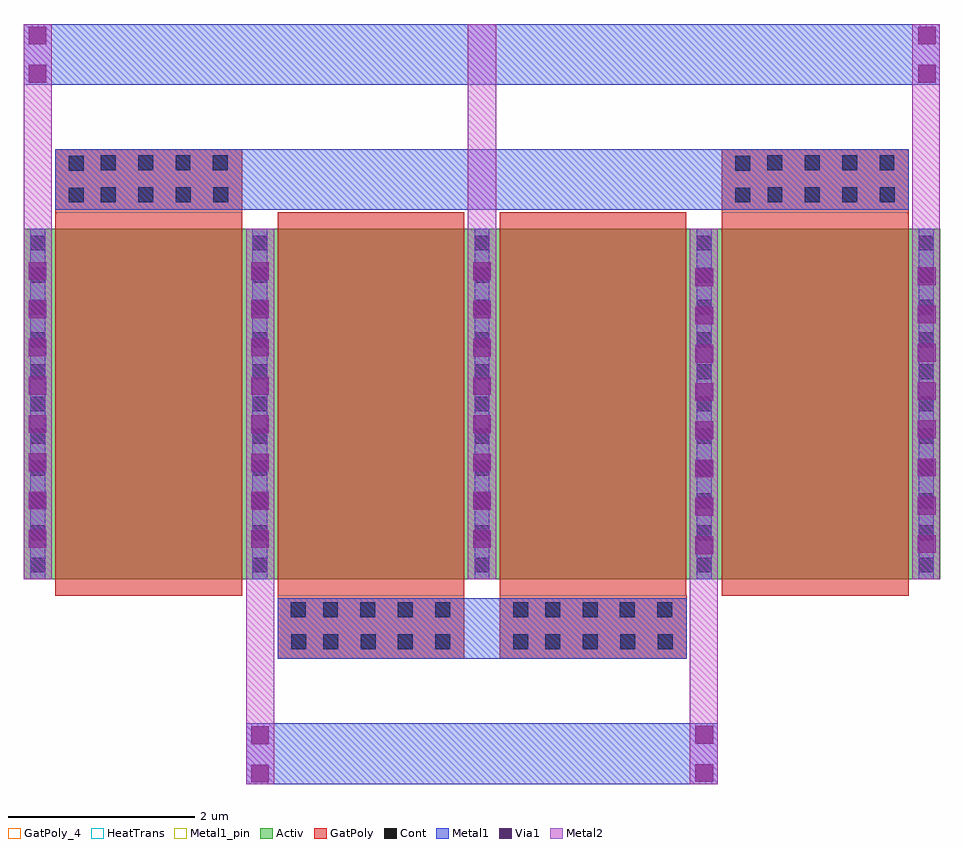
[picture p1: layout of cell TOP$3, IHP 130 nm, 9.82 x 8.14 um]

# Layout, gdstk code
import gdstk
lib = gdstk.Library(unit=1e-6, precision=1e-09)
def R(c, l, rs):  # rectangles x0, y0, x1, y1
    for r in rs: c.add(gdstk.rectangle(r[:2], r[2:], *l))
def A(c, l, x, y, w, h, nx, ny, dx, dy):  # array of equal rectangles
    R(c, l, [(x+i*dx, y+j*dy, x+i*dx+w, y+j*dy+h) for i in range(nx) for j in range(ny)])
Activ = (1, 0)
GatPoly = (5, 0)
GatPoly_4 = (5, 4)
Cont = (6, 0)
Metal1 = (8, 0)
Metal1_pin = (8, 2)
Metal2 = (10, 0)
Via1 = (19, 0)
HeatTrans = (51, 0)

nmos_1_1 = lib.new_cell('nmos$1$1')
A(nmos_1_1, Activ, 0, 0, 0.3, 0.3, 5, 1, 2.38, 0)
R(nmos_1_1, Activ, [(0,0,9.82,3.75)])
A(nmos_1_1, GatPoly, 0.34, -0.18, 2, 4.11, 4, 1, 2.38, 0)
R(nmos_1_1, GatPoly_4, [(0.34,-0.18,2.34,3.93), (0.34,-0.18,2.34,3.93)])
A(nmos_1_1, Cont, 0.07, 0.07, 0.16, 0.16, 5, 11, 2.38, 0.345)
A(nmos_1_1, Metal1, 0.07, 0, 0.16, 3.75, 5, 1, 2.38, 0)
R(nmos_1_1, Metal1_pin, [(0.07,0,0.23,3.75), (0.07,0,0.23,3.75), (2.45,0,2.61,3.75), (2.45,0,2.61,3.75)])
A(nmos_1_1, HeatTrans, 0.34, -0.18, 2, 4.11, 4, 1, 2.38, 0)
nmos_1_1.add(gdstk.Label('nmos', (1.34,1.875), layer=51, texttype=0))
nmos_1_1.add(gdstk.Label('nmos', (3.72,1.875), layer=51, texttype=0))
nmos_1_1.add(gdstk.Label('nmos', (6.1,1.875), layer=51, texttype=0))
nmos_1_1.add(gdstk.Label('nmos', (8.48,1.875), layer=51, texttype=0))

top_3 = lib.new_cell('TOP$3')
R(top_3, GatPoly, [(2.246,-0.911,4.247,-0.235), (4.626,-0.911,6.627,-0.235), (-0.135,3.875,1.866,4.551), (7.006,3.875,9.007,4.551)])
R(top_3, Cont, [(2.391,-0.807,2.551,-0.647), (4.771,-0.807,4.931,-0.647), (2.735,-0.805,2.895,-0.645), (3.136,-0.805,3.296,-0.645), (3.536,-0.805,3.696,-0.645), (3.937,-0.805,4.097,-0.645), (5.115,-0.805,5.275,-0.645), (5.516,-0.805,5.676,-0.645), (5.916,-0.805,6.076,-0.645), (6.317,-0.805,6.477,-0.645), (2.389,-0.465,2.549,-0.305), (4.769,-0.465,4.929,-0.305), (2.733,-0.463,2.893,-0.303), (3.134,-0.463,3.294,-0.303), (3.534,-0.463,3.694,-0.303), (3.935,-0.463,4.095,-0.303), (5.113,-0.463,5.273,-0.303), (5.514,-0.463,5.674,-0.303), (5.914,-0.463,6.074,-0.303), (6.315,-0.463,6.475,-0.303), (0.01,3.979,0.17,4.139), (7.151,3.979,7.311,4.139), (0.354,3.981,0.514,4.141), (0.755,3.981,0.915,4.141), (1.155,3.981,1.315,4.141), (1.556,3.981,1.716,4.141), (7.495,3.981,7.655,4.141), (7.896,3.981,8.056,4.141), (8.296,3.981,8.456,4.141), (8.697,3.981,8.857,4.141), (0.008,4.321,0.168,4.481), (7.149,4.321,7.309,4.481), (0.352,4.323,0.512,4.483), (0.753,4.323,0.913,4.483), (1.153,4.323,1.313,4.483), (1.554,4.323,1.714,4.483), (7.493,4.323,7.653,4.483), (7.894,4.323,8.054,4.483), (8.294,4.323,8.454,4.483), (8.695,4.323,8.855,4.483)])
R(top_3, Metal1, [(1.911,-2.251,6.963,-1.6), (2.246,-0.911,6.627,-0.26), (-0.135,3.9,9.007,4.551), (-0.474,5.24,9.342,5.891)])
R(top_3, Metal2, [(1.911,-2.251,2.211,3.695), (6.663,-2.251,6.963,3.695), (-0.474,-0.055,-0.174,5.891), (4.286,-0.055,4.586,5.891), (9.046,-0.055,9.342,5.891)])
A(top_3, Via1, 6.721, 0.213, 0.19, 0.19, 1, 8, 0, 0.41)
A(top_3, Via1, 9.106, 0.224, 0.19, 0.19, 1, 8, 0, 0.41)
A(top_3, Via1, 4.34, 0.278, 0.19, 0.19, 1, 8, 0, 0.41)
A(top_3, Via1, 1.962, 0.279, 0.19, 0.19, 1, 8, 0, 0.41)
A(top_3, Via1, -0.42, 0.281, 0.19, 0.19, 1, 8, 0, 0.41)
R(top_3, Via1, [(1.964,-2.233,2.154,-2.043), (6.723,-2.229,6.913,-2.039), (1.964,-1.823,2.154,-1.633), (6.723,-1.819,6.913,-1.629), (9.109,5.262,9.299,5.452), (-0.421,5.264,-0.231,5.454), (9.109,5.672,9.299,5.862), (-0.421,5.674,-0.231,5.864)])
top_3.add(gdstk.Reference(nmos_1_1, (-0.474,-0.055)))

lib.write_gds('TOP_3.gds')
